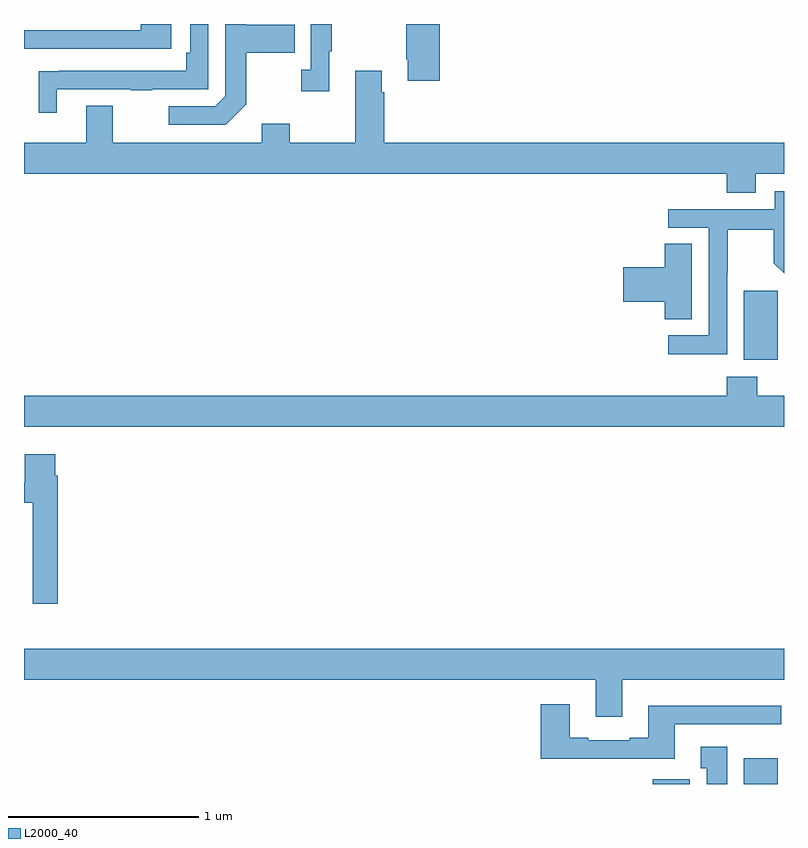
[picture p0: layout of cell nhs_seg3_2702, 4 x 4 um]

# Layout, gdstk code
import gdstk
lib = gdstk.Library(unit=1e-6, precision=1e-09)
def R(c, l, rs):  # rectangles x0, y0, x1, y1
    for r in rs: c.add(gdstk.rectangle(r[:2], r[2:], *l))
def P(c, l, *ps):  # polygons
    for p in ps: c.add(gdstk.Polygon(p, *l))
L2000_40 = (2000, 40)

nhs_seg3_2702 = lib.new_cell('nhs_seg3_2702')
R(nhs_seg3_2702, L2000_40, [(254.309,668.4,254.505,668.425), (254.789,668.4,254.968,668.536), (254.789,670.634,254.968,670.995)])
P(nhs_seg3_2702, L2000_40, [(252.607,672.257),(252.619,672.257),(252.619,672.4),(252.51,672.4),(252.51,672.158),(252.459,672.158),(252.459,672.045),(252.607,672.045)],
  [(252.169,671.977),(252.169,672.25),(252.425,672.25),(252.425,672.397),(252.169,672.397),(252.169,672.4),(252.06,672.4),(252.06,672.021),(252.006,671.967),(251.763,671.967),(251.763,671.871),(252.063,671.871)],
  [(251.776,672.4),(251.615,672.4),(251.615,672.366),(251,672.366),(251,672.27),(251.776,672.27)],
  [(251.173,672.057),(251.563,672.057),(251.563,672.052),(251.675,672.052),(251.675,672.057),(251.97,672.057),(251.97,672.4),(251.874,672.4),(251.874,672.25),(251.854,672.25),(251.854,672.153),(251.179,672.153),(251.179,672.152),(251.077,672.152),(251.077,671.934),(251.173,671.934)],
  [(253.187,672.4),(253.012,672.4),(253.012,672.214),(253.019,672.214),(253.019,672.102),(253.187,672.102)],
  [(254.851,671.612),(255,671.612),(255,671.776),(252.896,671.776),(252.896,672.041),(252.883,672.041),(252.883,672.154),(252.743,672.154),(252.743,671.776),(252.399,671.776),(252.399,671.875),(252.251,671.875),(252.251,671.776),(251.467,671.776),(251.467,671.971),(251.327,671.971),(251.327,671.776),(251,671.776),(251,671.612),(254.699,671.612),(254.699,671.513),(254.851,671.513)],
  [(254.7,671.092),(254.703,671.092),(254.703,671.316),(254.947,671.316),(254.947,671.141),(255,671.088),(255,671.521),(254.952,671.521),(254.952,671.424),(254.391,671.424),(254.391,671.328),(254.604,671.328),(254.604,670.761),(254.391,670.761),(254.391,670.663),(254.7,670.663)],
  [(254.515,671.243),(254.372,671.243),(254.372,671.12),(254.154,671.12),(254.154,670.937),(254.372,670.937),(254.372,670.846),(254.515,670.846)],
  [(255,670.444),(254.859,670.444),(254.859,670.543),(254.699,670.543),(254.699,670.444),(251,670.444),(251,670.28),(255,670.28)],
  [(251.177,670.022),(251.164,670.022),(251.164,670.135),(251.003,670.135),(251.003,669.988),(251,669.988),(251,669.879),(251.045,669.879),(251.045,669.348),(251.177,669.348)],
  [(254.149,668.948),(255,668.948),(255,669.112),(251,669.112),(251,668.948),(254.009,668.948),(254.009,668.754),(254.149,668.754)],
  [(254.425,668.715),(254.986,668.715),(254.986,668.812),(254.285,668.812),(254.285,668.644),(254.189,668.644),(254.189,668.631),(253.969,668.631),(253.969,668.644),(253.873,668.644),(253.873,668.821),(253.721,668.821),(253.721,668.534),(254.425,668.534)],
  [(254.701,668.596),(254.561,668.596),(254.561,668.483),(254.594,668.483),(254.594,668.4),(254.701,668.4)])

lib.write_gds('nhs_seg3_2702.gds')
